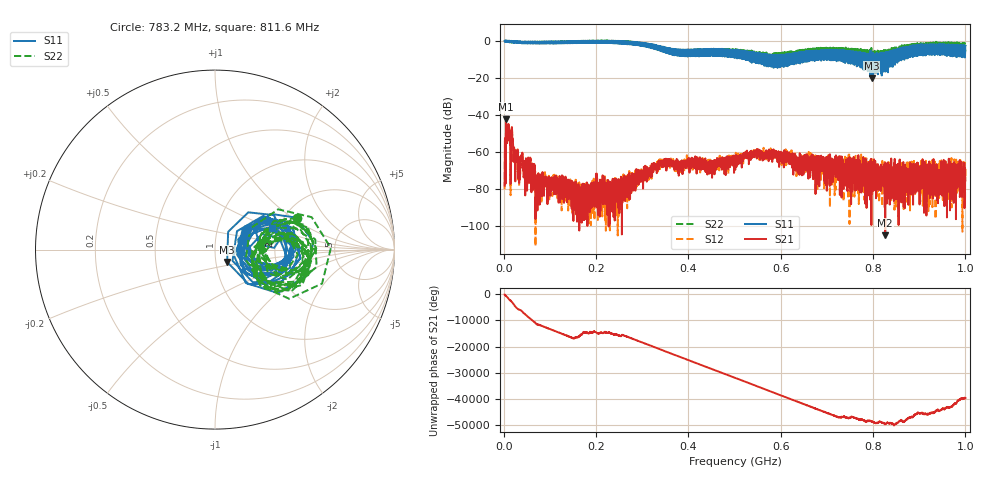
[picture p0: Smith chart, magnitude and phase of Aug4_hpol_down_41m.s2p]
!Keysight Technologies N9923A: A.12.45
!Date: Tuesday, 05 August 2025 19:06:05
!Timezone: (UTC+08:00) Kuala Lumpur, Singapore
!Model: N9923A
!Serial: MY61181427
!GPS Latitude:
!GPS Longitude:
!GPS TimeStamp: 0001-01-01 00:00:00Z
!GPS Seconds Since Last Read: 0
!CHECKSUM:1784133827
!Correction: S11(ON U)S21(ON U)S12(ON U)S22(ON U)
!S2P File: Measurements:S11,S21,S12,S22:
# Hz S DB R 50
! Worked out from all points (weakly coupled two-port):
!   4001 points, 2 MHz to 1 GHz, reference 50 ohm
!   highest |S21| = -42.47 dB at 4.994 MHz (marker M1); lowest = -105.2 dB at 826.3 MHz (marker M2)
!   lowest |S11| = -20.3 dB at 796.9 MHz (marker M3), VSWR 1.21, Z = 56.7 - j7.88 ohm
!   |S11| at or under -10 dB: 582.5514 MHz to 583.3463 MHz (795 kHz wide, 0.136 % of centre); 589.304 MHz to 590.1069 MHz (802.9 kHz wide, 0.136 % of centre); 596.0387 MHz to 596.8686 MHz (829.8 kHz wide, 0.139 % of centre)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
!   |S22| runs from -14.9 to 0.2 dB; largest |S21 - S12| = 0.0011
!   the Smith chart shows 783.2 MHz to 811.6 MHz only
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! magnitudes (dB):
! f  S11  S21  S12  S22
! 2 MHz  -0.1  -78.2  -80.2  -0.1
! 4.994 MHz  0.1  -42.5  -42.4  0.1
! 7.489 MHz  -0.6  -50.2  -50.2  -0.7
! 13.23 MHz  -0.1  -54.5  -54.2  0.0
! 28.95 MHz  -0.8  -65.4  -64.2  -0.9
! 57.14 MHz  -0.7  -63.3  -63.5  -0.7
! 73.61 MHz  -0.5  -76.5  -78.6  -0.4
! 168.4 MHz  -1.2  -85.8  -94.0  -1.0
! 251 MHz  -1.1  -75.1  -79.1  -1.1
! 334.8 MHz  -3.8  -65.6  -66.5  -4.5
! 420.2 MHz  -6.0  -67.0  -64.6  -6.8
! 443.4 MHz  -8.1  -68.8  -68.4  -7.4
! 501 MHz  -5.7  -65.4  -62.6  -6.5
! 548.9 MHz  -9.2  -60.3  -60.2  -6.7
! 667.4 MHz  -8.7  -67.5  -62.6  -8.6
! 796.9 MHz  -20.3  -69.5  -74.4  -7.6
! 826.3 MHz  -6.2  -105.2  -86.2  -7.8
! 833.8 MHz  -10.7  -75.3  -68.7  -5.5
! 928.1 MHz  -5.8  -67.0  -66.3  -1.5
! 943.6 MHz  -7.3  -73.5  -81.2  -3.2
! 955.6 MHz  -5.3  -67.6  -74.2  -5.0
! 1 GHz  -2.6  -75.5  -68.1  -2.4
